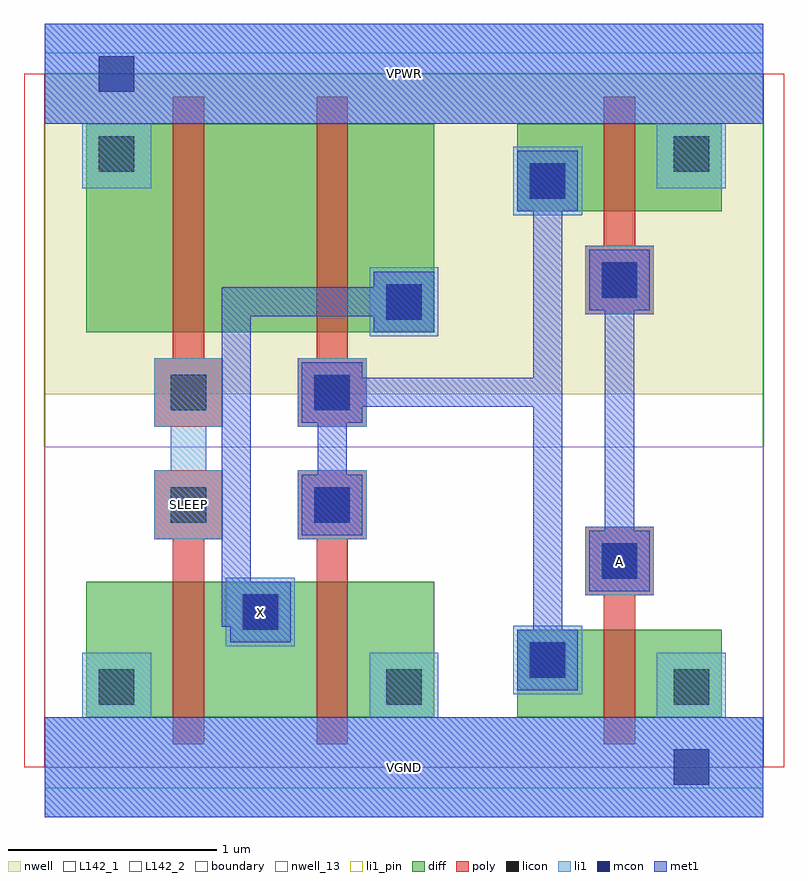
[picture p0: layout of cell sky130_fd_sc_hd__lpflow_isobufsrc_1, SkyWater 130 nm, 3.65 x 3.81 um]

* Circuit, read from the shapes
.subckt sky130_fd_sc_hd__lpflow_isobufsrc_1 A SLEEP VGND VPWR X
XM1 X SLEEP VGND VSUBS sky130_fd_pr__nfet_01v8 w=0.65 l=0.15
XM2 VGND n1 X VSUBS sky130_fd_pr__nfet_01v8 w=0.65 l=0.15
XM3 VGND A n1 VSUBS sky130_fd_pr__nfet_01v8 w=0.42 l=0.15
XM4 n2 SLEEP VPWR n3 sky130_fd_pr__pfet_01v8 w=1 l=0.15
XM5 X n1 n2 n3 sky130_fd_pr__pfet_01v8 w=1 l=0.15
XM6 VPWR A n1 n3 sky130_fd_pr__pfet_01v8 w=0.42 l=0.15
.ends

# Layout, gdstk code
import gdstk
lib = gdstk.Library(unit=1e-6, precision=1e-09)
def R(c, l, rs):  # rectangles x0, y0, x1, y1
    for r in rs: c.add(gdstk.rectangle(r[:2], r[2:], *l))
def A(c, l, x, y, w, h, nx, ny, dx, dy):  # array of equal rectangles
    R(c, l, [(x+i*dx, y+j*dy, x+i*dx+w, y+j*dy+h) for i in range(nx) for j in range(ny)])
def P(c, l, *ps):  # polygons
    for p in ps: c.add(gdstk.Polygon(p, *l))
nwell_13 = (64, 13)
nwell = (64, 20)
diff = (65, 20)
poly = (66, 20)
licon = (66, 44)
li1_pin = (67, 16)
li1 = (67, 20)
mcon = (67, 44)
met1 = (68, 20)
L142_1 = (142, 1)
L142_2 = (142, 2)
boundary = (235, 4)

sky130_fd_sc_hd__lpflow_ = lib.new_cell('sky130_fd_sc_hd__lpflow_isobufsrc_1')
R(sky130_fd_sc_hd__lpflow_, nwell_13, [(0,0,3.45,1.54)])
R(sky130_fd_sc_hd__lpflow_, nwell, [(0,1.79,3.45,3.33)])
R(sky130_fd_sc_hd__lpflow_, diff, [(0.2,0.24,1.87,0.89), (0.2,0.24,0.615,0.89), (0.615,0.24,1.305,0.89), (1.305,0.24,1.87,0.89), (2.27,0.24,3.25,0.66), (2.27,0.24,2.685,0.66), (2.685,0.24,3.25,0.66), (0.2,2.09,1.87,3.09), (0.2,2.09,0.615,3.09), (0.615,2.09,1.305,3.09), (1.305,2.09,1.87,3.09), (2.27,2.67,3.25,3.09), (2.27,2.67,2.685,3.09), (2.685,2.67,3.25,3.09)])
P(sky130_fd_sc_hd__lpflow_, poly, [(0.615,0.11),(0.615,1.095),(0.525,1.095),(0.525,1.425),(0.855,1.425),(0.855,1.095),(0.765,1.095),(0.765,0.11)],
  [(0.525,1.635),(0.525,1.965),(0.615,1.965),(0.615,3.22),(0.765,3.22),(0.765,1.965),(0.855,1.965),(0.855,1.635)],
  [(2.685,0.11),(2.685,0.825),(2.595,0.825),(2.595,1.155),(2.925,1.155),(2.925,0.825),(2.835,0.825),(2.835,0.11)],
  [(2.595,2.175),(2.595,2.505),(2.685,2.505),(2.685,3.22),(2.835,3.22),(2.835,2.505),(2.925,2.505),(2.925,2.175)],
  [(1.305,0.11),(1.305,1.095),(1.215,1.095),(1.215,1.425),(1.545,1.425),(1.545,1.095),(1.455,1.095),(1.455,0.11)],
  [(1.215,1.635),(1.215,1.965),(1.305,1.965),(1.305,3.22),(1.455,3.22),(1.455,1.965),(1.545,1.965),(1.545,1.635)])
A(sky130_fd_sc_hd__lpflow_, licon, 0.26, 0.3, 0.17, 0.17, 3, 1, 1.38, 0)
R(sky130_fd_sc_hd__lpflow_, licon, [(2.33,0.43,2.5,0.6), (0.95,0.66,1.12,0.83), (2.675,0.905,2.845,1.075), (0.605,1.175,0.775,1.345), (1.295,1.175,1.465,1.345), (0.605,1.715,0.775,1.885), (1.295,1.715,1.465,1.885), (1.64,2.15,1.81,2.32), (2.675,2.255,2.845,2.425), (2.33,2.73,2.5,2.9), (0.26,2.86,0.43,3.03), (3.02,2.86,3.19,3.03)])
R(sky130_fd_sc_hd__lpflow_, li1_pin, [(0,-0.24,3.45,0.24), (0.87,0.58,1.2,0.91), (2.595,0.825,2.925,1.155), (0,3.09,3.45,3.57)])
P(sky130_fd_sc_hd__lpflow_, li1_pin, [(0.525,1.095),(0.525,1.425),(0.605,1.425),(0.605,1.635),(0.525,1.635),(0.525,1.965),(0.855,1.965),(0.855,1.635),(0.775,1.635),(0.775,1.425),(0.855,1.425),(0.855,1.095)])
R(sky130_fd_sc_hd__lpflow_, li1, [(2.25,0.35,2.58,0.68), (0.87,0.58,1.2,0.91), (2.595,0.825,2.925,1.155), (1.215,1.095,1.545,1.425), (1.215,1.635,1.545,1.965), (1.56,2.07,1.89,2.4), (2.595,2.175,2.925,2.505), (2.25,2.65,2.58,2.98)])
P(sky130_fd_sc_hd__lpflow_, li1, [(0.525,1.095),(0.525,1.425),(0.605,1.425),(0.605,1.635),(0.525,1.635),(0.525,1.965),(0.855,1.965),(0.855,1.635),(0.775,1.635),(0.775,1.425),(0.855,1.425),(0.855,1.095)],
  [(0.18,2.78),(0.18,3.09),(0,3.09),(0,3.57),(3.45,3.57),(3.45,3.09),(3.27,3.09),(3.27,2.78),(2.94,2.78),(2.94,3.09),(0.51,3.09),(0.51,2.78)],
  [(0,-0.24),(0,0.24),(0.18,0.24),(0.18,0.55),(0.51,0.55),(0.51,0.24),(1.56,0.24),(1.56,0.55),(1.89,0.55),(1.89,0.24),(2.94,0.24),(2.94,0.55),(3.27,0.55),(3.27,0.24),(3.45,0.24),(3.45,-0.24)])
R(sky130_fd_sc_hd__lpflow_, mcon, [(3.02,-0.085,3.19,0.085), (2.33,0.43,2.5,0.6), (0.95,0.66,1.12,0.83), (2.675,0.905,2.845,1.075), (1.295,1.175,1.465,1.345), (1.295,1.715,1.465,1.885), (1.64,2.15,1.81,2.32), (2.675,2.255,2.845,2.425), (2.33,2.73,2.5,2.9), (0.26,3.245,0.43,3.415)])
R(sky130_fd_sc_hd__lpflow_, met1, [(0,-0.24,3.45,0.24), (0,3.09,3.45,3.57)])
P(sky130_fd_sc_hd__lpflow_, met1, [(2.615,0.845),(2.615,1.135),(2.69,1.135),(2.69,2.195),(2.615,2.195),(2.615,2.485),(2.905,2.485),(2.905,2.195),(2.83,2.195),(2.83,1.135),(2.905,1.135),(2.905,0.845)],
  [(2.27,0.37),(2.27,0.66),(2.345,0.66),(2.345,1.73),(1.525,1.73),(1.525,1.655),(1.45,1.655),(1.45,1.405),(1.525,1.405),(1.525,1.115),(1.235,1.115),(1.235,1.405),(1.31,1.405),(1.31,1.655),(1.235,1.655),(1.235,1.945),(1.525,1.945),(1.525,1.87),(2.345,1.87),(2.345,2.67),(2.27,2.67),(2.27,2.96),(2.56,2.96),(2.56,2.67),(2.485,2.67),(2.485,0.66),(2.56,0.66),(2.56,0.37)],
  [(0.89,0.6),(0.89,0.675),(0.85,0.675),(0.85,2.305),(1.58,2.305),(1.58,2.38),(1.87,2.38),(1.87,2.09),(1.58,2.09),(1.58,2.165),(0.99,2.165),(0.99,0.89),(1.18,0.89),(1.18,0.6)])
R(sky130_fd_sc_hd__lpflow_, L142_1, [(0,-0.1,3.45,0), (0,3.33,3.45,3.43)])
R(sky130_fd_sc_hd__lpflow_, L142_2, [(-0.1,0,0,3.33), (3.45,0,3.55,3.33)])
R(sky130_fd_sc_hd__lpflow_, boundary, [(0,0,3.45,3.33)])
sky130_fd_sc_hd__lpflow_.add(gdstk.Label('X', (1.035,0.745), layer=67, texttype=5))
sky130_fd_sc_hd__lpflow_.add(gdstk.Label('A', (2.76,0.99), layer=67, texttype=5))
sky130_fd_sc_hd__lpflow_.add(gdstk.Label('SLEEP', (0.69,1.26), layer=67, texttype=5))
sky130_fd_sc_hd__lpflow_.add(gdstk.Label('VGND', (1.725,0), layer=67, texttype=5))
sky130_fd_sc_hd__lpflow_.add(gdstk.Label('VPWR', (1.725,3.33), layer=67, texttype=5))
sky130_fd_sc_hd__lpflow_.add(gdstk.Label('VGND', (1.725,0), layer=68, texttype=5))
sky130_fd_sc_hd__lpflow_.add(gdstk.Label('VPWR', (1.725,3.33), layer=68, texttype=5))

lib.write_gds('sky130_fd_sc_hd__lpflow_isobufsrc_1.gds')
